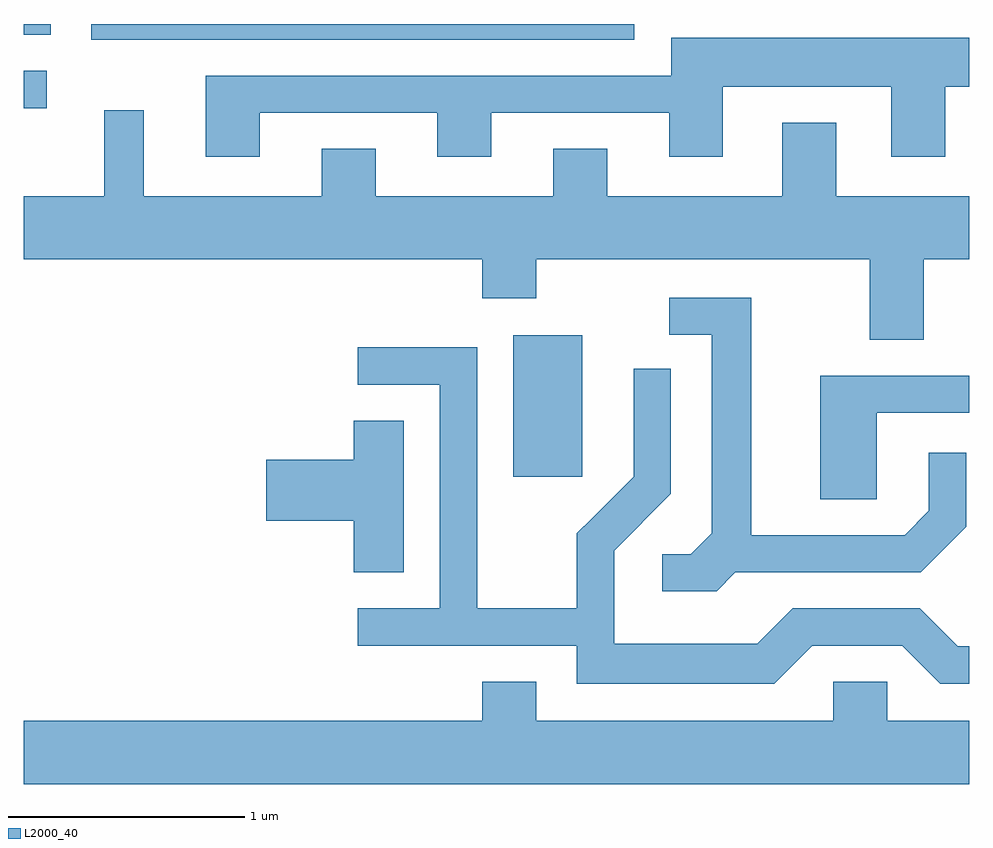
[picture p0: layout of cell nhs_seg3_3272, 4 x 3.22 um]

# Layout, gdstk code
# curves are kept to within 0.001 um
import gdstk
lib = gdstk.Library(unit=1e-6, precision=1e-09)
def R(c, l, rs):  # rectangles x0, y0, x1, y1
    for r in rs: c.add(gdstk.rectangle(r[:2], r[2:], *l))
def P(c, l, *ps):  # polygons
    for p in ps: c.add(gdstk.Polygon(p, *l))
L2000_40 = (2000, 40)

nhs_seg3_3272 = lib.new_cell('nhs_seg3_3272')
R(nhs_seg3_3272, L2000_40, [(283.681,1133.976,283.974,1134.574), (281.611,1135.536,281.708,1135.694), (281.896,1135.826,284.193,1135.892), (281.611,1135.846,281.724,1135.892)])
P(nhs_seg3_3272, L2000_40, [(282.609,1135.516),(283.361,1135.516),(283.361,1135.331),(283.589,1135.331),(283.589,1135.516),(284.341,1135.516),(284.341,1135.331),(284.569,1135.331),(284.569,1135.626),(285.281,1135.626),(285.281,1135.331),(285.509,1135.331),(285.509,1135.626),(285.611,1135.626),(285.611,1135.834),(284.351,1135.834),(284.351,1135.674),(282.381,1135.674),(282.381,1135.331),(282.609,1135.331)],
  [(285.191,1134.556),(285.419,1134.556),(285.419,1134.896),(285.611,1134.896),(285.611,1135.164),(285.049,1135.164),(285.049,1135.474),(284.821,1135.474),(284.821,1135.164),(284.079,1135.164),(284.079,1135.364),(283.851,1135.364),(283.851,1135.164),(283.099,1135.164),(283.099,1135.364),(282.871,1135.364),(282.871,1135.164),(282.119,1135.164),(282.119,1135.528),(281.951,1135.528),(281.951,1135.164),(281.611,1135.164),(281.611,1134.896),(283.551,1134.896),(283.551,1134.731),(283.779,1134.731),(283.779,1134.896),(285.191,1134.896)],
  [(284.622,1133.571),(285.407,1133.571),(285.599,1133.764),(285.599,1134.078),(285.441,1134.078),(285.441,1133.832),(285.339,1133.729),(284.689,1133.729),(284.689,1134.734),(284.343,1134.734),(284.343,1134.576),(284.521,1134.576),(284.521,1133.737),(284.434,1133.649),(284.313,1133.649),(284.313,1133.491),(284.542,1133.491)],
  [(284.947,1133.261),(285.329,1133.261),(285.489,1133.101),(285.611,1133.101),(285.611,1133.259),(285.562,1133.259),(285.402,1133.419),(284.864,1133.419),(284.714,1133.269),(284.109,1133.269),(284.109,1133.664),(284.349,1133.904),(284.349,1134.433),(284.191,1134.433),(284.191,1133.977),(283.951,1133.737),(283.951,1133.419),(283.529,1133.419),(283.529,1134.524),(283.023,1134.524),(283.023,1134.366),(283.371,1134.366),(283.371,1133.419),(283.023,1133.419),(283.023,1133.261),(283.951,1133.261),(283.951,1133.101),(284.787,1133.101)],
  [(285.219,1134.246),(285.611,1134.246),(285.611,1134.404),(284.981,1134.404),(284.981,1133.881),(285.219,1133.881)],
  [(283.219,1134.214),(283.006,1134.214),(283.006,1134.049),(282.636,1134.049),(282.636,1133.791),(283.006,1133.791),(283.006,1133.571),(283.219,1133.571)],
  [(285.611,1132.944),(285.264,1132.944),(285.264,1133.109),(285.036,1133.109),(285.036,1132.944),(283.779,1132.944),(283.779,1133.109),(283.551,1133.109),(283.551,1132.944),(281.611,1132.944),(281.611,1132.676),(285.611,1132.676)])

lib.write_gds('nhs_seg3_3272.gds')
